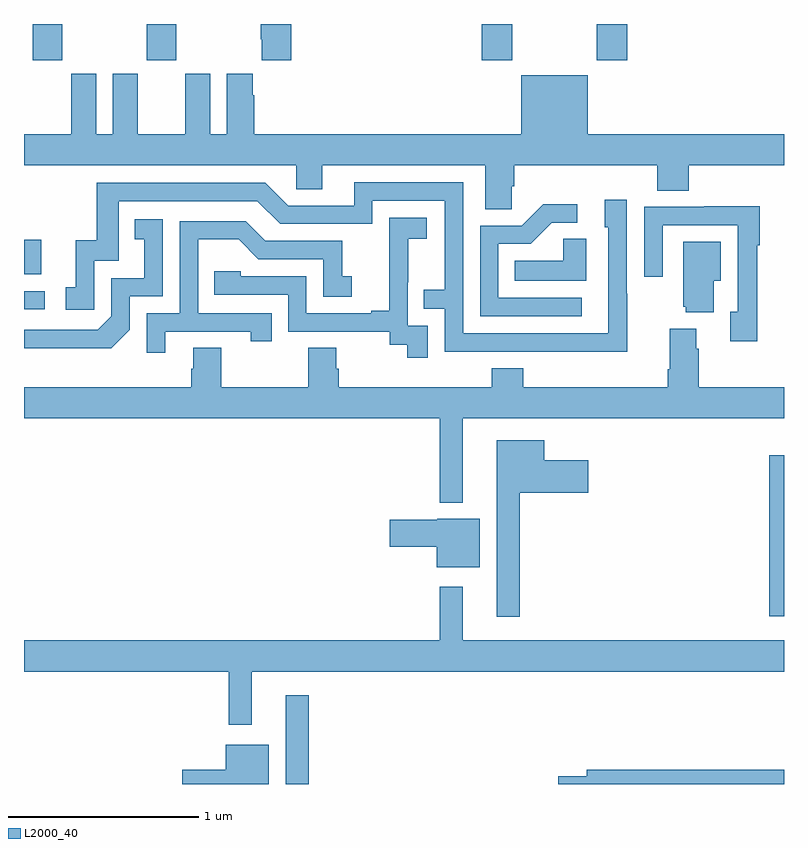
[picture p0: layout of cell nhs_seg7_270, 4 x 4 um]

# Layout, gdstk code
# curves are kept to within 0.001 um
import gdstk
lib = gdstk.Library(unit=1e-6, precision=1e-09)
def R(c, l, rs):  # rectangles x0, y0, x1, y1
    for r in rs: c.add(gdstk.rectangle(r[:2], r[2:], *l))
def P(c, l, *ps):  # polygons
    for p in ps: c.add(gdstk.Polygon(p, *l))
L2000_40 = (2000, 40)

nhs_seg7_270 = lib.new_cell('nhs_seg7_270')
R(nhs_seg7_270, L2000_40, [(132.377,1024,132.499,1024.468), (134.923,1024.884,135,1025.731), (131,1026.498,131.11,1026.594), (131,1026.683,131.092,1026.865), (131.047,1027.809,131.202,1028), (131.647,1027.809,131.802,1028), (133.409,1027.809,133.569,1028), (134.014,1027.809,134.174,1028)])
P(nhs_seg7_270, L2000_40, [(132.407,1028),(132.247,1028),(132.247,1027.921),(132.251,1027.921),(132.251,1027.809),(132.407,1027.809)],
  [(134.333,1027.123),(134.498,1027.123),(134.498,1027.256),(135,1027.256),(135,1027.42),(133.966,1027.42),(133.966,1027.729),(133.616,1027.729),(133.616,1027.42),(132.212,1027.42),(132.212,1027.625),(132.205,1027.625),(132.205,1027.738),(132.068,1027.738),(132.068,1027.42),(131.98,1027.42),(131.98,1027.738),(131.849,1027.738),(131.849,1027.42),(131.599,1027.42),(131.599,1027.738),(131.468,1027.738),(131.468,1027.42),(131.38,1027.42),(131.38,1027.738),(131.249,1027.738),(131.249,1027.42),(131,1027.42),(131,1027.256),(132.432,1027.256),(132.432,1027.129),(132.571,1027.129),(132.571,1027.256),(133.427,1027.256),(133.427,1027.024),(133.566,1027.024),(133.566,1027.147),(133.58,1027.147),(133.58,1027.256),(134.333,1027.256)],
  [(134.175,1026.581),(134.172,1026.581),(134.172,1027.075),(134.057,1027.075),(134.057,1026.93),(134.076,1026.93),(134.076,1026.372),(133.311,1026.372),(133.311,1027.167),(132.737,1027.167),(132.737,1027.044),(132.39,1027.044),(132.27,1027.164),(131.383,1027.164),(131.383,1026.862),(131.273,1026.862),(131.273,1026.615),(131.22,1026.615),(131.22,1026.495),(131.37,1026.495),(131.37,1026.753),(131.499,1026.753),(131.499,1027.068),(132.228,1027.068),(132.348,1026.948),(132.834,1026.948),(132.834,1027.071),(133.215,1027.071),(133.215,1026.602),(133.105,1026.602),(133.105,1026.501),(133.215,1026.501),(133.215,1026.276),(134.175,1026.275)],
  [(133.936,1026.558),(133.497,1026.558),(133.497,1026.843),(133.666,1026.843),(133.777,1026.954),(133.912,1026.954),(133.912,1027.052),(133.733,1027.052),(133.62,1026.939),(133.401,1026.939),(133.401,1026.462),(133.936,1026.462)],
  [(134.858,1026.835),(134.873,1026.835),(134.873,1027.04),(134.581,1027.04),(134.581,1027.038),(134.265,1027.038),(134.265,1026.669),(134.361,1026.669),(134.361,1026.942),(134.757,1026.942),(134.757,1026.486),(134.717,1026.486),(134.717,1026.33),(134.858,1026.33)],
  [(133.125,1026.411),(133.02,1026.411),(133.02,1026.641),(133.022,1026.641),(133.022,1026.869),(133.12,1026.869),(133.12,1026.979),(132.922,1026.979),(132.922,1026.773),(132.923,1026.773),(132.923,1026.49),(132.827,1026.49),(132.827,1026.477),(132.486,1026.477),(132.486,1026.672),(132.141,1026.672),(132.141,1026.699),(132.001,1026.699),(132.001,1026.576),(132.39,1026.576),(132.39,1026.381),(132.924,1026.381),(132.924,1026.313),(133.017,1026.313),(133.017,1026.243),(133.125,1026.243)],
  [(131.556,1026.39),(131.556,1026.567),(131.73,1026.567),(131.73,1026.973),(131.584,1026.973),(131.584,1026.867),(131.633,1026.867),(131.633,1026.663),(131.46,1026.663),(131.46,1026.462),(131.388,1026.39),(131,1026.39),(131,1026.294),(131.05,1026.293),(131.458,1026.293)],
  [(131.743,1026.381),(132.194,1026.381),(132.194,1026.33),(132.305,1026.33),(132.305,1026.477),(131.916,1026.477),(131.916,1026.866),(132.13,1026.866),(132.234,1026.762),(132.576,1026.762),(132.576,1026.564),(132.724,1026.564),(132.724,1026.673),(132.675,1026.673),(132.675,1026.858),(132.271,1026.858),(132.166,1026.963),(131.82,1026.963),(131.82,1026.477),(131.646,1026.477),(131.646,1026.27),(131.743,1026.27)],
  [(133.96,1026.869),(133.839,1026.869),(133.839,1026.754),(133.582,1026.754),(133.582,1026.65),(133.96,1026.65)],
  [(134.629,1026.65),(134.668,1026.65),(134.668,1026.853),(134.471,1026.853),(134.471,1026.513),(134.483,1026.513),(134.483,1026.482),(134.629,1026.482)],
  [(133.309,1025.924),(135,1025.924),(135,1026.088),(134.552,1026.088),(134.552,1026.29),(134.539,1026.29),(134.539,1026.397),(134.399,1026.397),(134.399,1026.184),(134.387,1026.184),(134.387,1026.088),(133.628,1026.088),(133.628,1026.187),(133.463,1026.187),(133.463,1026.088),(132.656,1026.088),(132.656,1026.186),(132.643,1026.186),(132.643,1026.296),(132.496,1026.296),(132.496,1026.088),(132.039,1026.088),(132.039,1026.296),(131.891,1026.296),(131.891,1026.186),(131.879,1026.186),(131.879,1026.088),(131,1026.088),(131,1025.924),(133.188,1025.924),(133.188,1025.48),(133.309,1025.48)],
  [(133.609,1025.534),(133.969,1025.534),(133.969,1025.704),(133.738,1025.704),(133.738,1025.809),(133.487,1025.809),(133.487,1024.881),(133.609,1024.881)],
  [(133.399,1025.395),(133.176,1025.395),(133.176,1025.39),(132.924,1025.39),(132.924,1025.248),(133.172,1025.248),(133.172,1025.141),(133.399,1025.141)],
  [(132.199,1024.592),(135,1024.592),(135,1024.756),(133.309,1024.756),(133.309,1025.038),(133.188,1025.038),(133.188,1024.756),(131,1024.756),(131,1024.592),(132.078,1024.592),(132.078,1024.311),(132.199,1024.311)],
  [(132.289,1024.207),(132.062,1024.207),(132.062,1024.076),(131.833,1024.076),(131.833,1024),(132.289,1024)],
  [(135,1024.076),(133.961,1024.076),(133.961,1024.04),(133.812,1024.04),(133.812,1024),(135,1024)])

lib.write_gds('nhs_seg7_270.gds')
